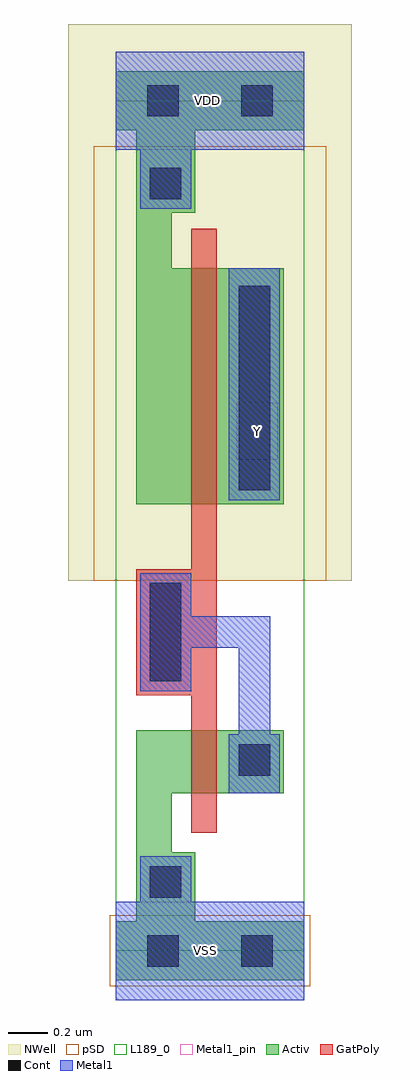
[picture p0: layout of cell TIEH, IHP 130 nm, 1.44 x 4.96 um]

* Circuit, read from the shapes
.subckt TIEH VDD VSS Y
XM1 n1 n1 VSS VSS sg13_lv_nmos w=0.32u l=0.13u
XM2 Y n1 VDD VDD sg13_lv_pmos w=1.2u l=0.13u
.ends

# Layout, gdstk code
import gdstk
lib = gdstk.Library(unit=1e-6, precision=1e-09)
def R(c, l, rs):  # rectangles x0, y0, x1, y1
    for r in rs: c.add(gdstk.rectangle(r[:2], r[2:], *l))
def P(c, l, *ps):  # polygons
    for p in ps: c.add(gdstk.Polygon(p, *l))
Activ = (1, 0)
GatPoly = (5, 0)
Cont = (6, 0)
Metal1 = (8, 0)
Metal1_pin = (8, 2)
pSD = (14, 0)
NWell = (31, 0)
L189_0 = (189, 0)

tieh = lib.new_cell('TIEH')
P(tieh, Activ, [(0.105,2.27),(0.105,4.17),(0,4.17),(0,4.47),(0.96,4.47),(0.96,4.17),(0.405,4.17),(0.405,3.75),(0.285,3.75),(0.285,3.47),(0.855,3.47),(0.855,2.27)],
  [(0,-0.15),(0,0.15),(0.105,0.15),(0.105,1.12),(0.855,1.12),(0.855,0.8),(0.285,0.8),(0.285,0.5),(0.405,0.5),(0.405,0.15),(0.96,0.15),(0.96,-0.15)])
P(tieh, GatPoly, [(0.385,0.6),(0.385,1.3),(0.105,1.3),(0.105,1.94),(0.385,1.94),(0.385,3.67),(0.515,3.67),(0.515,0.6)])
R(tieh, Cont, [(0.16,-0.08,0.32,0.08), (0.64,-0.08,0.8,0.08), (0.175,0.27,0.335,0.43), (0.625,0.89,0.785,1.05), (0.175,1.37,0.335,1.87), (0.625,2.34,0.785,3.38), (0.175,3.82,0.335,3.98), (0.16,4.24,0.32,4.4), (0.64,4.24,0.8,4.4)])
R(tieh, Metal1, [(0.575,2.29,0.835,3.47)])
P(tieh, Metal1, [(0.125,3.77),(0.125,4.07),(0,4.07),(0,4.57),(0.96,4.57),(0.96,4.07),(0.385,4.07),(0.385,3.77)],
  [(0.575,0.8),(0.575,1.1),(0.625,1.1),(0.625,1.54),(0.385,1.54),(0.385,1.32),(0.125,1.32),(0.125,1.92),(0.385,1.92),(0.385,1.7),(0.785,1.7),(0.785,1.1),(0.835,1.1),(0.835,0.8)],
  [(0,-0.25),(0,0.25),(0.125,0.25),(0.125,0.48),(0.385,0.48),(0.385,0.25),(0.96,0.25),(0.96,-0.25)])
R(tieh, Metal1_pin, [(0,-0.25,0.96,0.25), (0.615,2.495,0.825,2.785), (0,4.07,0.96,4.57)])
R(tieh, pSD, [(-0.03,-0.18,0.99,0.18), (-0.11,1.88,1.07,4.09)])
R(tieh, NWell, [(-0.24,1.88,1.2,4.71)])
R(tieh, L189_0, [(0,0,0.96,4.32)])
tieh.add(gdstk.Label('Y', (0.72,2.64), layer=8, texttype=25))
tieh.add(gdstk.Label('VSS', (0.455,0), layer=8, texttype=25))
tieh.add(gdstk.Label('VDD', (0.465,4.32), layer=8, texttype=25))

lib.write_gds('TIEH.gds')
